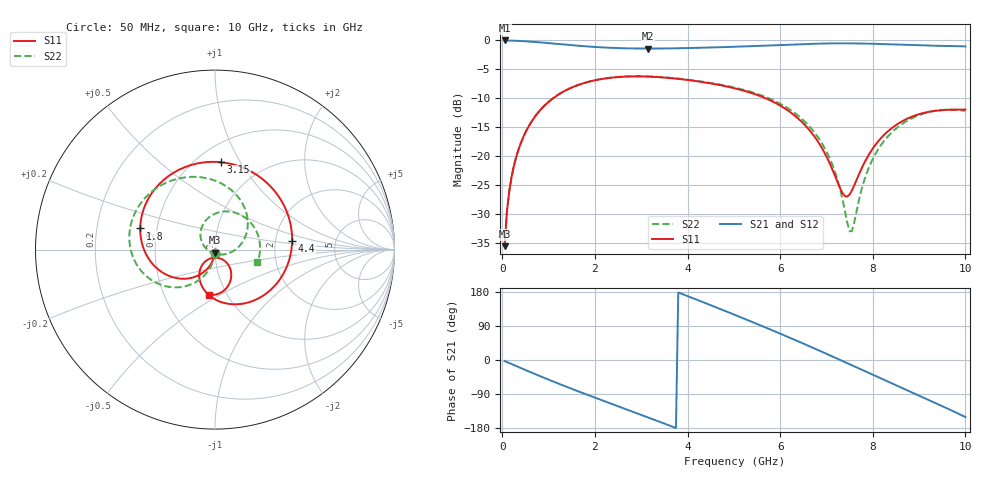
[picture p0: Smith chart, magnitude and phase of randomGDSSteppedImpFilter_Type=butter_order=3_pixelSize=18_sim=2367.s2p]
! freq	dB(S11)	phase(S11)	dB(S12)	phase(S12)
!  dB(S21)	phase(S21)	dB(S22)	phase(S22)
!S-par simulation data
#  GHz  S  DB  R 50
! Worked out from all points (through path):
!   200 points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, 50 MHz to 10 GHz, reference 50 ohm
!   highest |S21| = -0.01 dB at 50 MHz (marker M1); lowest = -1.4 dB at 3.15 GHz (marker M2)
!   group delay of S21, straight-line fit = 140 ps
!   lowest |S11| = -35.5 dB at 50 MHz (marker M3), VSWR 1.03, Z = 49.9 - j1.68 ohm
!   |S11| at or under -10 dB: start of sweep to 1.093 GHz; 5.692 GHz to end of sweep
!   |S22| runs from -35.5 to -6.2 dB; largest |S21 - S12| = 0
!   S11 on the Smith chart (normalised r, x): 50 MHz: 1.00, -0.03; 1.8 GHz: 0.40, +0.12; 3.15 GHz: 0.65, +0.83; 4.4 GHz: 2.48, +0.30; 10 GHz: 0.83, -0.44
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0.05  -35.48 -93.0  -0.01 -2.7  -0.01 -2.7  -35.48 -92.2
0.1  -29.49 -96.2  -0.01 -5.4  -0.01 -5.4  -29.49 -94.7
0.2  -23.56 -102.5  -0.04 -10.7  -0.04 -10.7  -23.55 -99.5
0.5  -15.88 -120.8  -0.15 -26.4  -0.15 -26.4  -15.87 -113.1
1.1  -9.95 -156.1  -0.54 -56.8  -0.54 -56.8  -9.95 -138.8
1.75  -7.39 167.0  -0.99 -87.8  -0.99 -87.8  -7.38 -163.8
1.8  -7.27 164.2  -1.02 -90.1  -1.02 -90.1  -7.26 -165.6
2.4  -6.39 130.2  -1.29 -117.5  -1.29 -117.5  -6.38 173.7
3.15  -6.23 86.0  -1.40 -151.6  -1.40 -151.6  -6.21 150.0
3.4  -6.34 70.6  -1.40 -163.1  -1.40 -163.1  -6.31 142.5
3.9  -6.72 38.9  -1.34 173.4  -1.34 173.4  -6.67 127.8
4.4  -7.28 6.5  -1.24 149.5  -1.24 149.5  -7.21 112.8
5.05  -8.32 -35.1  -1.08 117.7  -1.08 117.7  -8.20 91.9
5.9  -10.79 -85.6  -0.82 74.8  -0.82 74.8  -10.51 59.0
6.7  -16.14 -123.8  -0.58 32.7  -0.58 32.7  -15.47 18.4
7.15  -22.68 -127.1  -0.51 8.2  -0.51 8.2  -21.90 -14.1
7.35  -26.39 -105.5  -0.50 -2.8  -0.50 -2.8  -27.50 -41.1
7.5  -26.56 -75.5  -0.50 -11.1  -0.50 -11.1  -32.91 -95.6
7.9  -19.92 -48.3  -0.56 -33.2  -0.56 -33.2  -22.25 154.1
8.35  -15.51 -57.1  -0.66 -58.0  -0.66 -58.0  -16.35 116.9
9.15  -12.41 -81.0  -0.88 -102.1  -0.88 -102.1  -12.49 57.6
10  -11.92 -97.7  -1.02 -150.5  -1.02 -150.5  -12.16 -16.4
